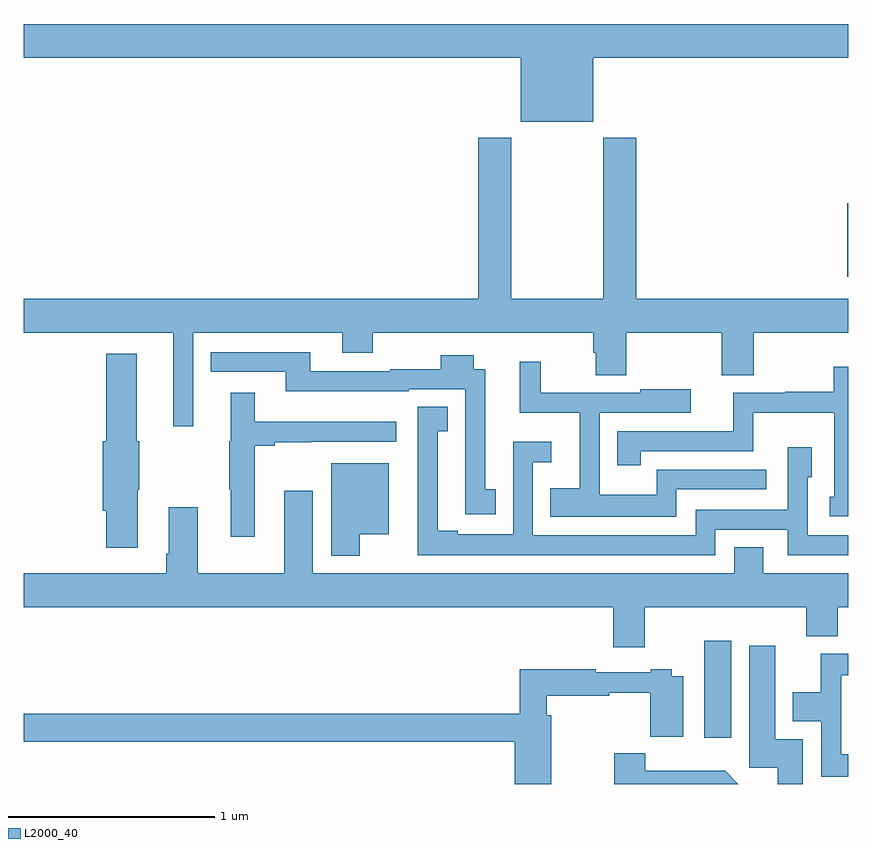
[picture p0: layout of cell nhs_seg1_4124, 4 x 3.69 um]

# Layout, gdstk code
import gdstk
lib = gdstk.Library(unit=1e-6, precision=1e-09)
def R(c, l, rs):  # rectangles x0, y0, x1, y1
    for r in rs: c.add(gdstk.rectangle(r[:2], r[2:], *l))
def P(c, l, *ps):  # polygons
    for p in ps: c.add(gdstk.Polygon(p, *l))
L2000_40 = (2000, 40)

nhs_seg1_4124 = lib.new_cell('nhs_seg1_4124')
R(nhs_seg1_4124, L2000_40, [(338.3,560.424,338.431,560.893), (338.993,562.659,339,563.014)])
P(nhs_seg1_4124, L2000_40, [(337.762,563.72),(339,563.72),(339,563.884),(335,563.884),(335,563.72),(337.412,563.72),(337.412,563.411),(337.762,563.411)],
  [(335.823,562.388),(336.545,562.388),(336.545,562.289),(336.693,562.289),(336.693,562.388),(337.763,562.388),(337.763,562.29),(337.775,562.29),(337.775,562.18),(337.923,562.18),(337.923,562.388),(338.386,562.388),(338.386,562.18),(338.541,562.18),(338.541,562.388),(339,562.388),(339,562.552),(337.97,562.552),(337.97,563.332),(337.81,563.332),(337.81,562.552),(337.365,562.552),(337.365,563.332),(337.205,563.332),(337.205,562.552),(335,562.552),(335,562.388),(335.726,562.388),(335.726,561.933),(335.823,561.933)],
  [(337.289,561.627),(337.24,561.627),(337.24,562.209),(337.183,562.209),(337.183,562.279),(337.024,562.279),(337.024,562.21),(336.777,562.21),(336.777,562.2),(336.391,562.2),(336.391,562.293),(335.908,562.293),(335.908,562.197),(336.272,562.197),(336.272,562.103),(336.867,562.103),(336.867,562.113),(337.143,562.113),(337.143,561.83),(337.142,561.83),(337.142,561.507),(337.289,561.507)],
  [(335.554,561.625),(335.562,561.625),(335.562,561.861),(335.548,561.861),(335.548,562.285),(335.402,562.285),(335.402,561.861),(335.384,561.861),(335.384,561.525),(335.402,561.525),(335.402,561.345),(335.554,561.345)],
  [(338.166,561.627),(338.602,561.627),(338.602,561.723),(338.173,561.723),(338.173,561.722),(338.07,561.722),(338.07,561.601),(337.794,561.601),(337.794,561.999),(338.236,561.999),(338.236,562.114),(337.991,562.114),(337.991,562.095),(337.508,562.095),(337.508,562.246),(337.406,562.246),(337.406,561.998),(337.697,561.998),(337.697,561.634),(337.555,561.634),(337.555,561.494),(338.166,561.494)],
  [(339,562.222),(338.928,562.222),(338.928,562.1),(338.694,562.1),(338.694,562.095),(338.441,562.095),(338.441,561.909),(337.879,561.909),(337.879,561.744),(337.992,561.744),(337.992,561.813),(338.539,561.813),(338.539,561.998),(338.93,561.998),(338.93,561.591),(338.909,561.591),(338.909,561.498),(339,561.498)],
  [(336.121,561.838),(336.217,561.838),(336.217,561.856),(336.395,561.856),(336.395,561.858),(336.808,561.858),(336.808,561.955),(336.121,561.955),(336.121,562.096),(336.005,562.096),(336.005,561.861),(335.998,561.861),(335.998,561.628),(336.005,561.628),(336.005,561.399),(336.121,561.399)],
  [(337.367,561.309),(338.355,561.309),(338.355,561.432),(338.706,561.432),(338.706,561.309),(339,561.309),(339,561.405),(338.802,561.405),(338.802,561.687),(338.821,561.687),(338.821,561.832),(338.706,561.832),(338.706,561.528),(338.259,561.528),(338.259,561.405),(337.47,561.405),(337.47,561.758),(337.558,561.758),(337.558,561.859),(337.374,561.859),(337.374,561.409),(337.105,561.409),(337.105,561.427),(337.009,561.427),(337.009,561.91),(337.058,561.91),(337.058,562.028),(336.912,562.028),(336.912,561.75),(336.911,561.75),(336.911,561.308),(337.367,561.308)],
  [(336.631,561.41),(336.772,561.41),(336.772,561.754),(336.491,561.754),(336.491,561.305),(336.631,561.305)],
  [(338.011,561.056),(338.795,561.056),(338.795,560.915),(338.947,560.915),(338.947,561.056),(339,561.056),(339,561.22),(338.587,561.22),(338.587,561.347),(338.447,561.347),(338.447,561.22),(336.403,561.22),(336.403,561.622),(336.263,561.622),(336.263,561.22),(335.845,561.22),(335.845,561.541),(335.705,561.541),(335.705,561.316),(335.693,561.316),(335.693,561.22),(335,561.22),(335,561.056),(337.859,561.056),(337.859,560.862),(338.011,560.862)],
  [(338.779,560.416),(338.644,560.416),(338.644,560.869),(338.519,560.869),(338.519,560.277),(338.657,560.277),(338.657,560.199),(338.779,560.199)],
  [(339,560.343),(338.964,560.343),(338.964,560.726),(339,560.726),(339,560.83),(338.866,560.83),(338.866,560.644),(338.729,560.644),(338.729,560.504),(338.868,560.504),(338.868,560.235),(339,560.235)],
  [(337.56,560.533),(337.537,560.533),(337.537,560.626),(337.84,560.626),(337.84,560.641),(338.038,560.641),(338.038,560.429),(338.2,560.429),(338.2,560.722),(338.142,560.722),(338.142,560.755),(338.042,560.755),(338.042,560.742),(337.775,560.742),(337.775,560.755),(337.405,560.755),(337.405,560.54),(335,560.54),(335,560.404),(337.382,560.404),(337.382,560.199),(337.56,560.199)],
  [(338.403,560.263),(338.014,560.263),(338.014,560.347),(337.864,560.347),(337.864,560.199),(338.466,560.199)])

lib.write_gds('nhs_seg1_4124.gds')
